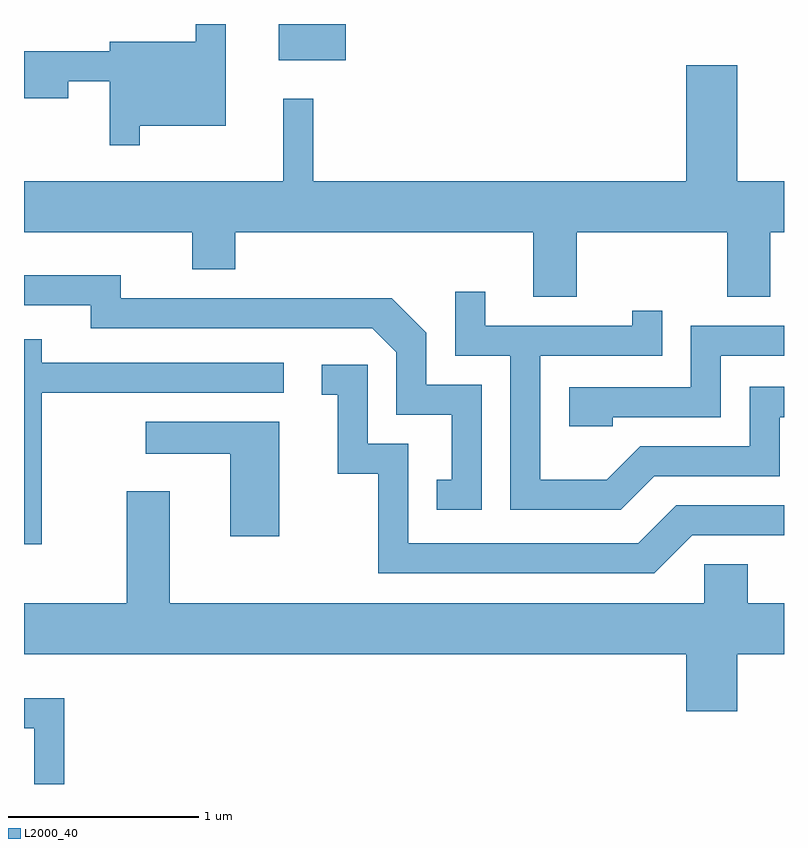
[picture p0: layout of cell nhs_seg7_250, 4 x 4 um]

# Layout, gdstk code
import gdstk
lib = gdstk.Library(unit=1e-6, precision=1e-09)
def R(c, l, rs):  # rectangles x0, y0, x1, y1
    for r in rs: c.add(gdstk.rectangle(r[:2], r[2:], *l))
def P(c, l, *ps):  # polygons
    for p in ps: c.add(gdstk.Polygon(p, *l))
L2000_40 = (2000, 40)

nhs_seg7_250 = lib.new_cell('nhs_seg7_250')
R(nhs_seg7_250, L2000_40, [(192.951,1764.061,193.304,1764.252)])
P(nhs_seg7_250, L2000_40, [(192.219,1763.716),(192.674,1763.716),(192.674,1764.252),(192.516,1764.252),(192.516,1764.159),(192.061,1764.159),(192.061,1764.109),(191.611,1764.109),(191.611,1763.861),(191.844,1763.861),(191.844,1763.951),(192.061,1763.951),(192.061,1763.613),(192.219,1763.613)],
  [(194.519,1763.156),(195.311,1763.156),(195.311,1762.816),(195.539,1762.816),(195.539,1763.156),(195.611,1763.156),(195.611,1763.424),(195.364,1763.424),(195.364,1764.034),(195.096,1764.034),(195.096,1763.424),(193.134,1763.424),(193.134,1763.858),(192.976,1763.858),(192.976,1763.424),(191.611,1763.424),(191.611,1763.156),(192.496,1763.156),(192.496,1762.961),(192.724,1762.961),(192.724,1763.156),(194.291,1763.156),(194.291,1762.816),(194.519,1762.816)],
  [(194.019,1762.354),(193.729,1762.354),(193.729,1762.627),(193.547,1762.809),(192.119,1762.809),(192.119,1762.929),(191.611,1762.929),(191.611,1762.771),(191.961,1762.771),(191.961,1762.651),(193.444,1762.651),(193.571,1762.524),(193.571,1762.196),(193.861,1762.196),(193.861,1761.854),(193.783,1761.854),(193.783,1761.696),(194.019,1761.696)],
  [(194.927,1761.871),(195.589,1761.871),(195.589,1762.181),(195.611,1762.181),(195.611,1762.344),(195.431,1762.344),(195.431,1762.029),(194.854,1762.029),(194.679,1761.854),(194.329,1761.854),(194.329,1762.506),(194.969,1762.506),(194.969,1762.743),(194.811,1762.743),(194.811,1762.664),(194.039,1762.664),(194.039,1762.843),(193.881,1762.843),(193.881,1762.506),(194.171,1762.506),(194.171,1761.696),(194.752,1761.696)],
  [(194.709,1762.181),(195.279,1762.181),(195.279,1762.506),(195.611,1762.506),(195.611,1762.664),(195.121,1762.664),(195.121,1762.339),(194.481,1762.339),(194.481,1762.136),(194.709,1762.136)],
  [(191.704,1762.311),(192.978,1762.311),(192.978,1762.469),(191.704,1762.469),(191.704,1762.593),(191.611,1762.593),(191.611,1761.513),(191.704,1761.513)],
  [(195.127,1761.561),(195.611,1761.561),(195.611,1761.719),(195.044,1761.719),(194.844,1761.519),(193.634,1761.519),(193.634,1762.044),(193.419,1762.044),(193.419,1762.459),(193.178,1762.459),(193.178,1762.301),(193.261,1762.301),(193.261,1761.886),(193.476,1761.886),(193.476,1761.361),(194.927,1761.361)],
  [(192.954,1762.159),(192.253,1762.159),(192.253,1761.991),(192.696,1761.991),(192.696,1761.556),(192.954,1761.556)],
  [(195.364,1760.936),(195.611,1760.936),(195.611,1761.204),(195.419,1761.204),(195.419,1761.409),(195.191,1761.409),(195.191,1761.204),(192.379,1761.204),(192.379,1761.794),(192.151,1761.794),(192.151,1761.204),(191.611,1761.204),(191.611,1760.936),(195.096,1760.936),(195.096,1760.636),(195.364,1760.636)],
  [(191.824,1760.704),(191.611,1760.704),(191.611,1760.546),(191.666,1760.546),(191.666,1760.252),(191.824,1760.252)])

lib.write_gds('nhs_seg7_250.gds')
